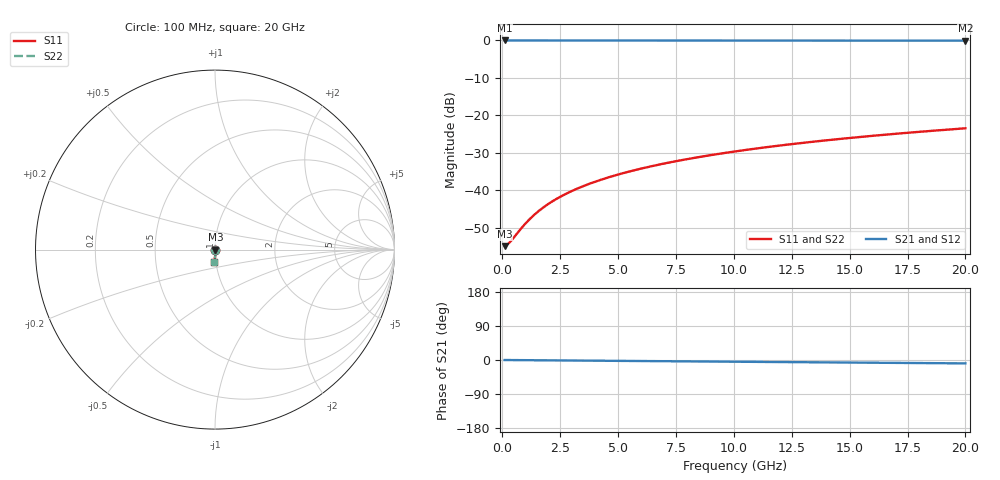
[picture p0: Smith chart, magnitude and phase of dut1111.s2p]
! Touchstone file exported from HFSS 2026.1.0
!  File:  C:/ffzhzh/LocalFiles/Ansys_Project_Files/temp_train_TSV_1111_1783190717_51560.aedt
!  Generated:  02:47:09 AM Jul  5, 2026
!  Design:  TSV
!  Project:  temp_train_TSV_1111_1783190717_51560
! Variables:
!  h_bsmrdl = 2um
!  h_ox = 20um
!  h_rdl = 5um
!  h_sub = 87.34um
!  h_tmrdl = 5um
!  h_tsv = 87.34um
!  h_via = 3um
!  l_bsmrdl = 300um
!  l_sub = 404.78um
!  l_tmrdl = 200um
!  m_sub = 200um
!  pitch = 6.45um
!  r_tsv = 2.39um
!  s_tmrdl = 10um
!  w_bsmrdl = 18um
!  w_sub = 500um
!  w_tmrdl = 12um
!  x_tsv_center1 = 206um
!  x_tsv_center2 = 524um
!  x_tsv_center3 = 736um
!  x_tsv_center4 = 1054um
!  x_tsv_center5 = 1266um
!  x_tsv_center6 = 1584um
# GHz S MA R 50.000000
! Terminal data exported
! Port[1] = TSV1_1_T1
! Port[2] = TSV1_1_T2
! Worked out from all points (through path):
!   200 points, 100 MHz to 20 GHz, reference 50 ohm
!   highest |S21| = -0.02 dB at 100 MHz (marker M1); lowest = -0.1 dB at 20 GHz (marker M2)
!   group delay of S21, straight-line fit = 1.24 ps
!   lowest |S11| = -55.0 dB at 100 MHz (marker M3), VSWR 1.00, Z = 50.2 - j0.0261 ohm
!   |S11| at or under -10 dB: start of sweep to end of sweep
!   |S22| runs from -55.0 to -23.5 dB; largest |S21 - S12| = 5.3e-15
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0.1  0.001781 -8.4  0.9982 -0.0  0.9982 -0.0  0.001781 -8.4
! Gamma 0 0 0 0
! Port Impedance 50 0 50 0
0.2  0.001857 -16.4  0.9982 -0.1  0.9982 -0.1  0.001857 -16.4
0.3  0.001977 -23.7  0.9982 -0.1  0.9982 -0.1  0.001977 -23.7
0.4  0.002136 -30.3  0.9982 -0.2  0.9982 -0.2  0.002136 -30.3
0.9  0.003299 -52.2  0.998 -0.4  0.998 -0.4  0.003299 -52.2
1.2  0.004145 -59.7  0.9979 -0.6  0.9979 -0.6  0.004145 -59.7
1.4  0.004735 -63.3  0.9978 -0.7  0.9978 -0.7  0.004735 -63.3
1.7  0.005643 -67.5  0.9978 -0.8  0.9978 -0.8  0.005643 -67.5
2.1  0.006878 -71.5  0.9977 -1.0  0.9977 -1.0  0.006878 -71.5
2.5  0.00813 -74.4  0.9976 -1.2  0.9976 -1.2  0.00813 -74.4
3  0.009711 -76.9  0.9975 -1.4  0.9975 -1.4  0.009711 -76.9
3.5  0.0113 -78.9  0.9974 -1.6  0.9974 -1.6  0.0113 -78.9
4.2  0.01355 -80.9  0.9973 -1.9  0.9973 -1.9  0.01355 -80.9
5  0.01613 -82.5  0.9971 -2.3  0.9971 -2.3  0.01613 -82.5
5.9  0.01906 -83.9  0.9969 -2.7  0.9969 -2.7  0.01906 -83.9
6.8  0.02201 -85.0  0.9967 -3.1  0.9967 -3.1  0.02201 -85.0
8.3  0.02698 -86.5  0.9962 -3.8  0.9962 -3.8  0.02698 -86.5
10.1  0.03301 -87.9  0.9956 -4.6  0.9956 -4.6  0.03301 -87.9
11.7  0.03843 -89.0  0.9951 -5.3  0.9951 -5.3  0.03843 -89.0
13.4  0.04422 -90.1  0.9944 -6.0  0.9944 -6.0  0.04422 -90.1
16.7  0.05555 -92.1  0.9932 -7.5  0.9932 -7.5  0.05555 -92.1
20  0.06692 -93.9  0.9918 -8.9  0.9918 -8.9  0.06692 -93.9
